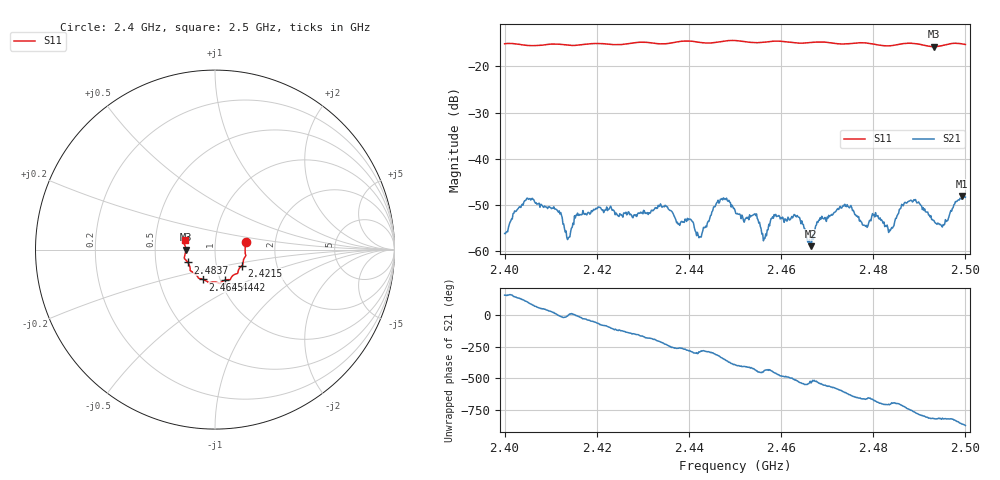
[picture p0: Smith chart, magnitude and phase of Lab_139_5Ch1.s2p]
# Hz S RI R 50
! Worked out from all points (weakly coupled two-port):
!   601 points, 2.4 GHz to 2.5 GHz, reference 50 ohm
!   highest |S21| = -48.07 dB at 2.4993 GHz (marker M1); lowest = -58.9 dB at 2.4665 GHz (marker M2)
!   lowest |S11| = -15.7 dB at 2.4932 GHz (marker M3), VSWR 1.39, Z = 35.9 - j0.0579 ohm
!   |S11| at or under -10 dB: start of sweep to end of sweep
!   S12 and S22 are empty: the file has one direction only
!   S11 on the Smith chart (normalised r, x): 2.4 GHz: 1.41, +0.12; 2.4215 GHz: 1.33, -0.25; 2.4442 GHz: 1.05, -0.37; 2.4645 GHz: 0.83, -0.29; 2.4837 GHz: 0.73, -0.11; 2.5 GHz: 0.71, +0.07
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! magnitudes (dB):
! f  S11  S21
! 2.4 GHz  -15.1  -56.2
! 2.405 GHz  -15.5  -48.5
! 2.4137 GHz  -15.4  -57.5
! 2.4167 GHz  -15.3  -52.2
! 2.4215 GHz  -15.1  -51.7
! 2.4333 GHz  -15.1  -50.1
! 2.4422 GHz  -14.8  -57.1
! 2.4442 GHz  -15.0  -53.6
! 2.4473 GHz  -14.6  -48.9
! 2.45 GHz  -14.4  -51.2
! 2.4563 GHz  -14.8  -57.3
! 2.4587 GHz  -14.5  -52.4
! 2.4645 GHz  -15.0  -53.5
! 2.4665 GHz  -14.8  -58.9
! 2.4667 GHz  -14.8  -57.9
! 2.4738 GHz  -15.1  -49.9
! 2.4833 GHz  -15.6  -56.0
! 2.4837 GHz  -15.5  -55.6
! 2.4887 GHz  -15.0  -49.2
! 2.4932 GHz  -15.7  -53.4
! 2.4993 GHz  -15.1  -48.1
! 2.5 GHz  -15.3  -48.3
